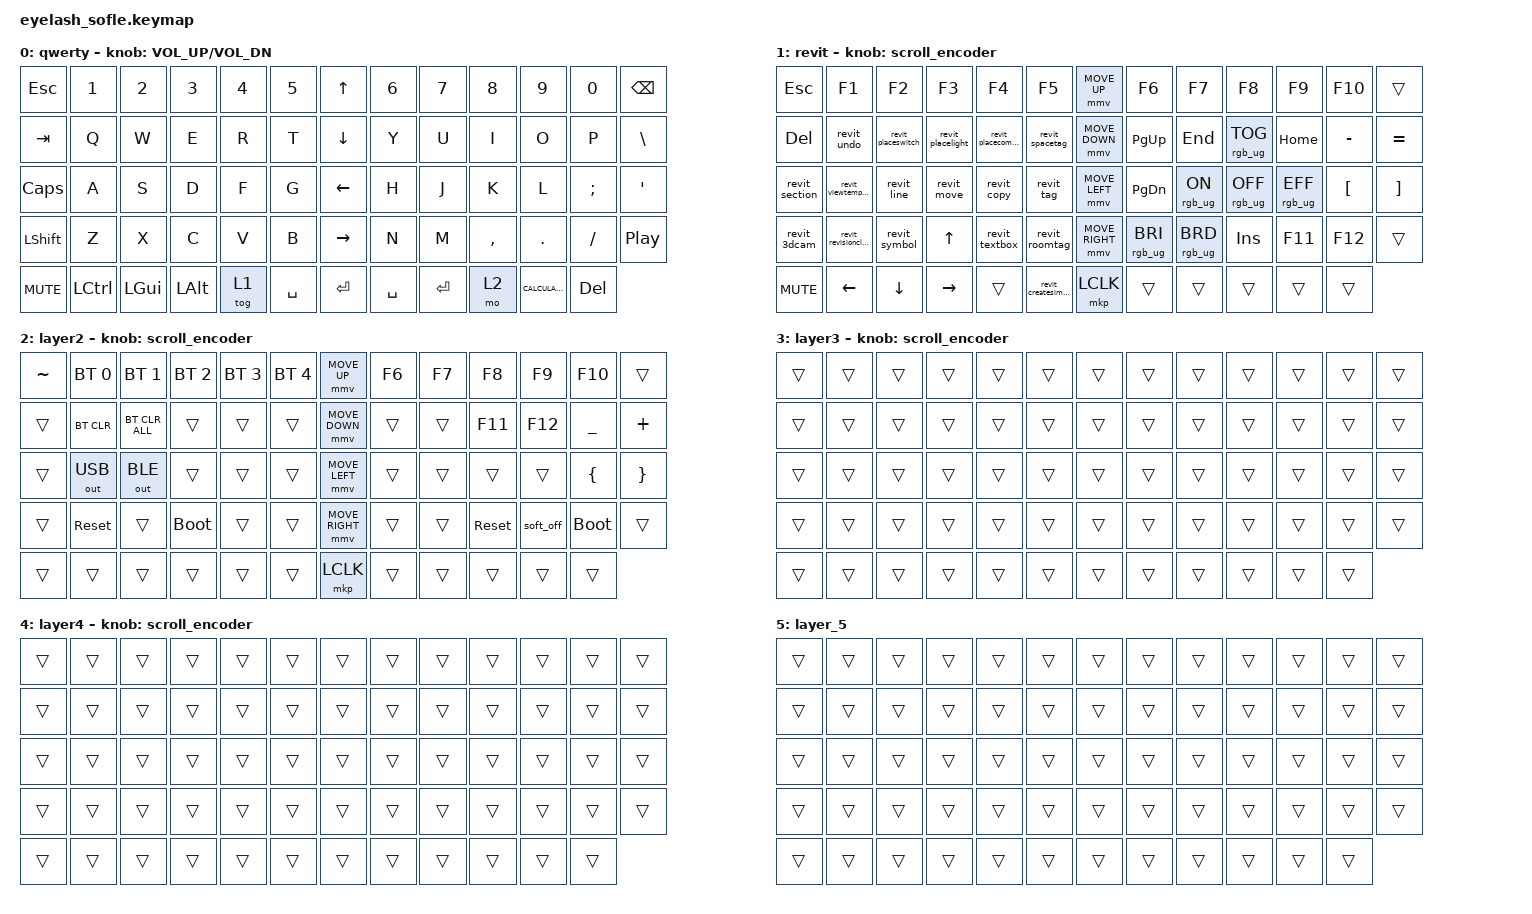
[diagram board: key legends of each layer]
#define ZMK_POINTING_DEFAULT_MOVE_VAL 1200  // 600
#define ZMK_POINTING_DEFAULT_SCRL_VAL 25   // 10

#include <input/processors.dtsi>
#include <zephyr/dt-bindings/input/input-event-codes.h>
#include <behaviors.dtsi>
#include <dt-bindings/zmk/bt.h>
#include <dt-bindings/zmk/keys.h>
#include <dt-bindings/zmk/outputs.h>
#include <dt-bindings/zmk/pointing.h>
#include <dt-bindings/zmk/rgb.h>

&mmv_input_listener { input-processors = <&zip_xy_scaler 2 1>; };

&msc_input_listener { input-processors = <&zip_scroll_scaler 2 1>; };

&msc {
    acceleration-exponent = <1>;      // 0
    time-to-max-speed-ms = <100>;       // 300
    delay-ms = <0>;                   // 0
};

&mmv {
    time-to-max-speed-ms = <500>;
    acceleration-exponent = <1>;
    trigger-period-ms = <16>;
};

&soft_off { hold-time-ms = <2000>; };

/ {
    scroll_encoder: scroll_encoder {
        compatible = "zmk,behavior-sensor-rotate";
        #sensor-binding-cells = <0>;
        bindings = <&msc SCRL_DOWN>, <&msc SCRL_UP>;

        tap-ms = <100>;
    };

    behaviors {
    };

    combos {
        compatible = "zmk,combos";

        softoff {
            bindings = <&soft_off>;
            key-positions = <14 28 40>;
        };
    };

    macros {
        revit_copy: revit_copy {
            compatible = "zmk,behavior-macro";
            #binding-cells = <0>;
            bindings = <&kp C &kp O>;
            label = "REVIT_COPY";
        };

        revit_move: revit_move {
            compatible = "zmk,behavior-macro";
            #binding-cells = <0>;
            bindings = <&kp M &kp V>;
            label = "REVIT_MOVE";
        };

        revit_line: revit_line {
            compatible = "zmk,behavior-macro";
            #binding-cells = <0>;
            bindings = <&kp D &kp L>;
            label = "REVIT_LINE";
        };

        revit_placecomponent: revit_placecomponent {
            compatible = "zmk,behavior-macro";
            #binding-cells = <0>;
            bindings = <&kp C &kp M>;
            label = "REVIT_PLACECOMPONENT";
        };

        revit_textbox: revit_textbox {
            compatible = "zmk,behavior-macro";
            #binding-cells = <0>;
            bindings = <&kp T &kp X>;
            label = "REVIT_TEXTBOX";
        };

        revit_placelight: revit_placelight {
            compatible = "zmk,behavior-macro";
            #binding-cells = <0>;
            bindings = <&kp L &kp F>;
            label = "REVIT_PLACELIGHT";
        };

        revit_placeswitch: revit_placeswitch {
            compatible = "zmk,behavior-macro";
            #binding-cells = <0>;
            bindings = <&kp L &kp D>;
            label = "REVIT_PLACESWITCH";
        };

        revit_viewtemplate: revit_viewtemplate {
            compatible = "zmk,behavior-macro";
            #binding-cells = <0>;
            bindings = <&kp V &kp T>;
            label = "REVIT_VIEWTEMPLATE";
        };

        revit_tag: revit_tag {
            compatible = "zmk,behavior-macro";
            #binding-cells = <0>;
            bindings = <&kp T &kp G>;
            label = "REVIT_TAG";
        };

        revit_spacetag: revit_spacetag {
            compatible = "zmk,behavior-macro";
            #binding-cells = <0>;
            bindings = <&kp S &kp T>;
            label = "REVIT_SPACETAG";
        };

        revit_roomtag: revit_roomtag {
            compatible = "zmk,behavior-macro";
            #binding-cells = <0>;
            bindings = <&kp R &kp T>;
            label = "REVIT_ROOMTAG";
        };

        revit_undo: revit_undo {
            compatible = "zmk,behavior-macro";
            #binding-cells = <0>;
            bindings = <&kp U &kp D>;
            label = "REVIT_UNDO";
        };

        revit_section: revit_section {
            compatible = "zmk,behavior-macro";
            #binding-cells = <0>;
            bindings = <&kp S &kp N>;
            label = "REVIT_SECTION";
        };

        revit_revisioncloud: revit_revisioncloud {
            compatible = "zmk,behavior-macro";
            #binding-cells = <0>;
            bindings = <&kp R &kp C>;
            label = "REVIT_REVISIONCLOUD";
        };

        revit_3dcam: revit_3dcam {
            compatible = "zmk,behavior-macro";
            #binding-cells = <0>;
            bindings = <&kp C &kp A &kp M>;
            label = "REVIT_3DCAM";
        };

        revit_symbol: revit_symbol {
            compatible = "zmk,behavior-macro";
            #binding-cells = <0>;
            bindings = <&kp S &kp B>;
            label = "REVIT_SYMBOL";
        };

        revit_createsimilar: revit_createsimilar {
            compatible = "zmk,behavior-macro";
            #binding-cells = <0>;
            bindings = <&kp C &kp S>;
            label = "REVIT_CREATESIMILAR";
        };
    };

    keymap {
        compatible = "zmk,keymap";

        qwerty {
            bindings = <
&kp ESC     &kp N1     &kp N2        &kp N3        &kp N4  &kp N5       &kp UP_ARROW     &kp N6     &kp N7     &kp N8     &kp N9            &kp N0      &kp BACKSPACE
&kp TAB     &kp Q      &kp W         &kp E         &kp R   &kp T        &kp DOWN_ARROW   &kp Y      &kp U      &kp I      &kp O             &kp P       &kp BSLH
&kp CAPS    &kp A      &kp S         &kp D         &kp F   &kp G        &kp LEFT_ARROW   &kp H      &kp J      &kp K      &kp L             &kp SEMI    &kp SINGLE_QUOTE
&kp LSHFT   &kp Z      &kp X         &kp C         &kp V   &kp B        &kp RIGHT_ARROW  &kp N      &kp M      &kp COMMA  &kp DOT           &kp FSLH    &kp C_PLAY_PAUSE
&kp C_MUTE  &kp LCTRL  &kp LEFT_GUI  &kp LEFT_ALT  &tog 1  &kp SPACE    &kp ENTER        &kp SPACE  &kp ENTER  &mo 2      &kp K_CALCULATOR  &kp DELETE
            >;

            sensor-bindings = <&inc_dec_kp C_VOLUME_UP C_VOL_DN>;
            display-name = "qwerty";
        };

        Revit {
            bindings = <
&kp ESCAPE      &kp F1                &kp F2              &kp F3             &kp F4                 &kp F5                  &mmv MOVE_UP     &kp F6           &kp F7           &kp F8           &kp F9           &kp F10           &trans
&kp DELETE      &revit_undo           &revit_placeswitch  &revit_placelight  &revit_placecomponent  &revit_spacetag         &mmv MOVE_DOWN   &kp PG_UP        &kp END          &rgb_ug RGB_TOG  &kp HOME         &kp MINUS         &kp EQUAL
&revit_section  &revit_viewtemplate   &revit_line         &revit_move        &revit_copy            &revit_tag              &mmv MOVE_LEFT   &kp PG_DN        &rgb_ug RGB_ON   &rgb_ug RGB_OFF  &rgb_ug RGB_EFF  &kp LEFT_BRACKET  &kp RIGHT_BRACKET
&revit_3dcam    &revit_revisioncloud  &revit_symbol       &kp UP_ARROW       &revit_textbox         &revit_roomtag          &mmv MOVE_RIGHT  &rgb_ug RGB_BRI  &rgb_ug RGB_BRD  &kp INSERT       &kp F11          &kp F12           &trans
&kp C_MUTE      &kp LEFT_ARROW        &kp DOWN_ARROW      &kp RIGHT          &trans                 &revit_createsimilar    &mkp LCLK        &trans           &trans           &trans           &trans           &trans
            >;

            display-name = "revit";
            sensor-bindings = <&scroll_encoder>;
        };

        layer_2 {
            bindings = <
&kp TILDE  &bt BT_SEL 0  &bt BT_SEL 1    &bt BT_SEL 2  &bt BT_SEL 3  &bt BT_SEL 4    &mmv MOVE_UP     &kp F6  &kp F7  &kp F8      &kp F9     &kp F10      &trans
&trans     &bt BT_CLR    &bt BT_CLR_ALL  &trans        &trans        &trans          &mmv MOVE_DOWN   &trans  &trans  &kp F11     &kp F12    &kp UNDER    &kp PLUS
&trans     &out OUT_USB  &out OUT_BLE    &trans        &trans        &trans          &mmv MOVE_LEFT   &trans  &trans  &trans      &trans     &kp LBRC     &kp RBRC
&trans     &sys_reset    &trans          &bootloader   &trans        &trans          &mmv MOVE_RIGHT  &trans  &trans  &sys_reset  &soft_off  &bootloader  &trans
&trans     &trans        &trans          &trans        &trans        &trans          &mkp LCLK        &trans  &trans  &trans      &trans     &trans
            >;

            display-name = "layer2";
            sensor-bindings = <&scroll_encoder>;
        };

        layer_3 {
            bindings = <
&trans  &trans  &trans  &trans  &trans  &trans    &trans  &trans  &trans  &trans  &trans  &trans  &trans
&trans  &trans  &trans  &trans  &trans  &trans    &trans  &trans  &trans  &trans  &trans  &trans  &trans
&trans  &trans  &trans  &trans  &trans  &trans    &trans  &trans  &trans  &trans  &trans  &trans  &trans
&trans  &trans  &trans  &trans  &trans  &trans    &trans  &trans  &trans  &trans  &trans  &trans  &trans
&trans  &trans  &trans  &trans  &trans  &trans    &trans  &trans  &trans  &trans  &trans  &trans
            >;

            display-name = "layer3";
            sensor-bindings = <&scroll_encoder>;
        };

        layer_4 {
            bindings = <
&trans  &trans  &trans  &trans  &trans  &trans    &trans  &trans  &trans  &trans  &trans  &trans  &trans
&trans  &trans  &trans  &trans  &trans  &trans    &trans  &trans  &trans  &trans  &trans  &trans  &trans
&trans  &trans  &trans  &trans  &trans  &trans    &trans  &trans  &trans  &trans  &trans  &trans  &trans
&trans  &trans  &trans  &trans  &trans  &trans    &trans  &trans  &trans  &trans  &trans  &trans  &trans
&trans  &trans  &trans  &trans  &trans  &trans    &trans  &trans  &trans  &trans  &trans  &trans
            >;

            display-name = "layer4";
            sensor-bindings = <&scroll_encoder>;
        };

        layer_5 {
            bindings = <
&trans  &trans  &trans  &trans  &trans  &trans    &trans  &trans  &trans  &trans  &trans  &trans  &trans
&trans  &trans  &trans  &trans  &trans  &trans    &trans  &trans  &trans  &trans  &trans  &trans  &trans
&trans  &trans  &trans  &trans  &trans  &trans    &trans  &trans  &trans  &trans  &trans  &trans  &trans
&trans  &trans  &trans  &trans  &trans  &trans    &trans  &trans  &trans  &trans  &trans  &trans  &trans
&trans  &trans  &trans  &trans  &trans  &trans    &trans  &trans  &trans  &trans  &trans  &trans
            >;
        };
    };
};
